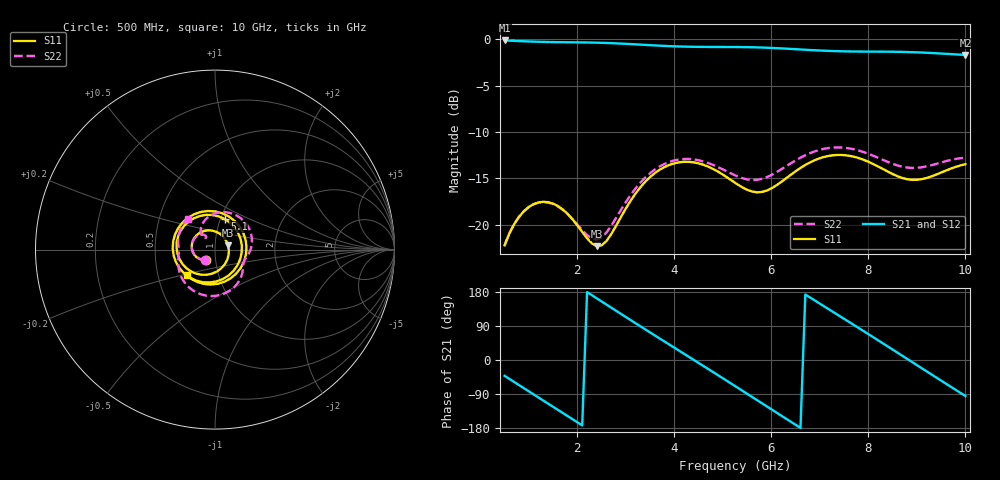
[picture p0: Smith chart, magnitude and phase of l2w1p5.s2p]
! Touchstone file exported from HFSS 3D Layout Design 2026.1.0
!  File:  D:/Work/ADS/HFSS_VERDICT/hfss_sma_connector_cpw.aedt
!  Generated:  02:10:17 PM Aug  6, 2026
!  Design:  SINGLE_END_SMA_CPW_30MM
!  Project:  hfss_sma_connector_cpw
! Variables:
!  $sma_Base_D = 6.25mm
!  $sma_Base_L = 8mm
!  $sma_Feet_L = 4mm
!  $sma_Feet_W = 1mm
!  $sma_Front_L = 1.5mm
!  $sma_Front_W = 6.5mm
!  $sma_Hole_D = 1.25mm
!  $sma_PTFE_D = 4.2mm
!  $sma_Pin_D = 0.95mm
!  $sma_Pin_P = 1.7mm
# GHz S MA R 50.000000
! Terminal data exported
! Port[1] = Port1
! Port[2] = S1_1_Pin_T1
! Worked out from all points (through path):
!   96 points, 500 MHz to 10 GHz, reference 50 ohm
!   highest |S21| = -0.11 dB at 500 MHz (marker M1); lowest = -1.7 dB at 10 GHz (marker M2)
!   group delay of S21, straight-line fit = 226 ps
!   lowest |S11| = -22.3 dB at 2.4 GHz (marker M3), VSWR 1.17, Z = 57.8 + j2.68 ohm
!   |S11| at or under -10 dB: start of sweep to end of sweep
!   |S22| runs from -22.2 to -11.7 dB; largest |S21 - S12| = 1.5e-14
!   S11 on the Smith chart (normalised r, x): 500 MHz: 0.90, -0.10; 5.1 GHz: 1.05, +0.37; 10 GHz: 0.70, -0.21
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0.5  0.07742 -132.0  0.987 -41.8  0.987 -41.8  0.07774 -133.4
0.9  0.1184 -165.6  0.9769 -74.6  0.9769 -74.6  0.1184 -166.5
1.3  0.133 159.8  0.9697 -107.2  0.9697 -107.2  0.1324 163.1
1.7  0.1207 121.1  0.9658 -139.8  0.9658 -139.8  0.1203 137.5
2.1  0.09145 71.1  0.9633 -172.6  0.9633 -172.6  0.09348 124.1
2.4  0.07659 17.5  0.96 162.7  0.96 162.7  0.08318 128.3
3.1  0.135 -96.8  0.9435 105.2  0.9435 105.2  0.1449 122.5
3.7  0.1982 -156.1  0.9249 56.5  0.9249 56.5  0.2066 85.3
4.4  0.217 142.4  0.9122 0.2  0.9122 0.2  0.2251 36.7
5.1  0.1791 72.8  0.9101 -56.4  0.9101 -56.4  0.193 -3.9
5.3  0.1651 48.8  0.9095 -72.7  0.9095 -72.7  0.1824 -12.0
5.7  0.1496 -6.0  0.9056 -105.5  0.9056 -105.5  0.1746 -23.8
6.2  0.1699 -75.3  0.8945 -146.5  0.8945 -146.5  0.1988 -39.7
6.9  0.2233 -152.3  0.8737 156.7  0.8737 156.7  0.2491 -76.3
7.3  0.2374 169.2  0.8649 124.6  0.8649 124.6  0.2611 -100.8
7.7  0.2328 130.8  0.8605 92.5  0.8605 92.5  0.2553 -124.9
8.1  0.2126 89.5  0.8591 60.2  0.8591 60.2  0.2356 -146.5
8.5  0.1877 42.7  0.8578 27.6  0.8578 27.6  0.2131 -163.8
8.8  0.176 3.7  0.8548 3.0  0.8548 3.0  0.2034 -174.1
9.2  0.1787 -49.2  0.847 -29.9  0.847 -29.9  0.2064 172.3
9.6  0.196 -96.6  0.836 -62.5  0.836 -62.5  0.2203 154.4
10  0.2121 -137.5  0.8244 -95.0  0.8244 -95.0  0.2299 131.4
